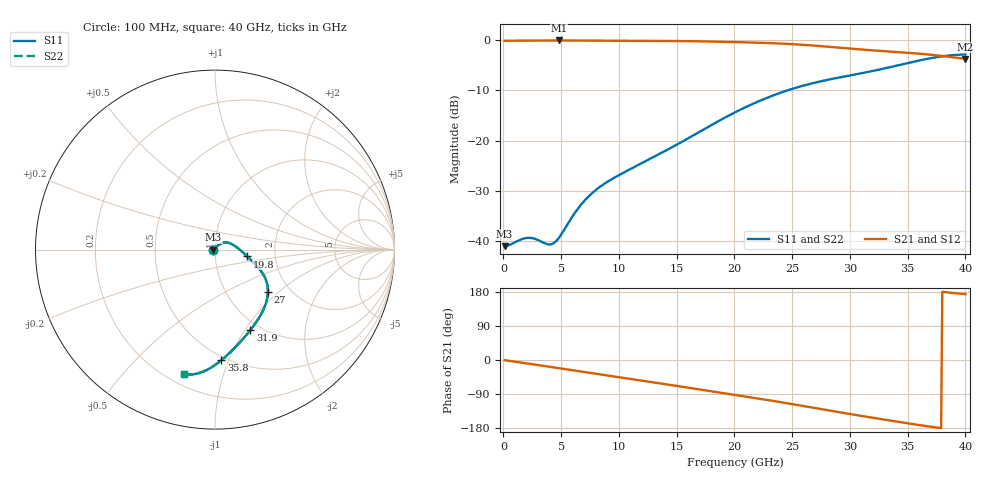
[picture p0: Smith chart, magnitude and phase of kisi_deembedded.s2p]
! A_s4_d200_ap600: kisi-fdtd, de-embedded with the 2×thru
# Hz S RI R 50
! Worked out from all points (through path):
!   400 points, 100 MHz to 40 GHz, reference 50 ohm
!   highest |S21| = -0.11 dB at 4.8 GHz (marker M1); lowest = -3.8 dB at 40 GHz (marker M2)
!   group delay of S21, straight-line fit = 13.3 ps
!   lowest |S11| = -41.0 dB at 100 MHz (marker M3), VSWR 1.02, Z = 49.1 - j0.0256 ohm
!   |S11| at or under -10 dB: start of sweep to 24.63 GHz
!   |S22| runs from -41.0 to -2.9 dB; largest |S21 - S12| = 2.2e-07
!   S11 on the Smith chart (normalised r, x): 100 MHz: 0.98, -0.00; 19.8 GHz: 1.43, -0.11; 27 GHz: 1.55, -0.85; 31.9 GHz: 0.90, -1.06; 35.8 GHz: 0.47, -0.94; 40 GHz: 0.26, -0.75
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1e8  -0.00892 -0.00026  0.9814 -0.00748  0.9814 -0.00748  -0.00892 -0.00026
2.1e9  -0.0106 -0.00211  0.9713 -0.1581  0.9713 -0.1581  -0.0106 -0.00211
4.1e9  -0.00689 0.00627  0.9372 -0.3106  0.9372 -0.3106  -0.00689 0.00627
4.4e9  -0.00539 0.00802  0.9296 -0.3331  0.9296 -0.3331  -0.00539 0.00802
4.8e9  -0.00304 0.0104  0.9185 -0.3629  0.9185 -0.3629  -0.00304 0.0104
6.1e9  0.00638 0.0174  0.8748 -0.4564  0.8748 -0.4564  0.00638 0.0174
6.8e9  0.0118 0.0205  0.8469 -0.5041  0.8469 -0.5041  0.0118 0.0205
7.8e9  0.019 0.0243  0.8025 -0.5689  0.8025 -0.5689  0.019 0.0243
8.9e9  0.0259 0.0282  0.7484 -0.6352  0.7484 -0.6352  0.0259 0.0282
1.34e10  0.0601 0.0407  0.4761 -0.8538  0.4761 -0.8538  0.0601 0.0407
1.66e10  0.1138 0.0181  0.2368 -0.9406  0.2368 -0.9406  0.1138 0.0181
1.98e10  0.1802 -0.0384  -0.0136 -0.9531  -0.0136 -0.9531  0.1802 -0.0384
2.01e10  0.1866 -0.0445  -0.0368 -0.9507  -0.0368 -0.9507  0.1866 -0.0445
2.34e10  0.2557 -0.119  -0.2888 -0.8803  -0.2888 -0.8803  0.2557 -0.119
2.67e10  0.2948 -0.2229  -0.5103 -0.719  -0.5103 -0.719  0.2948 -0.2229
2.7e10  0.295 -0.2344  -0.5269 -0.7003  -0.5269 -0.7003  0.295 -0.2344
2.93e10  0.2713 -0.3309  -0.6287 -0.5466  -0.6287 -0.5466  0.2713 -0.3309
3.19e10  0.1974 -0.4477  -0.6959 -0.3694  -0.6959 -0.3694  0.1974 -0.4477
3.34e10  0.1403 -0.5147  -0.7173 -0.2701  -0.7173 -0.2701  0.1403 -0.5147
3.58e10  0.0357 -0.6161  -0.7235 -0.1175  -0.7235 -0.1175  0.0357 -0.6161
3.8e10  -0.0751 -0.6832  -0.6918 0.000112  -0.6918 0.000112  -0.0751 -0.6832
4e10  -0.1742 -0.6943  -0.6446 0.0703  -0.6446 0.0703  -0.1742 -0.6943
